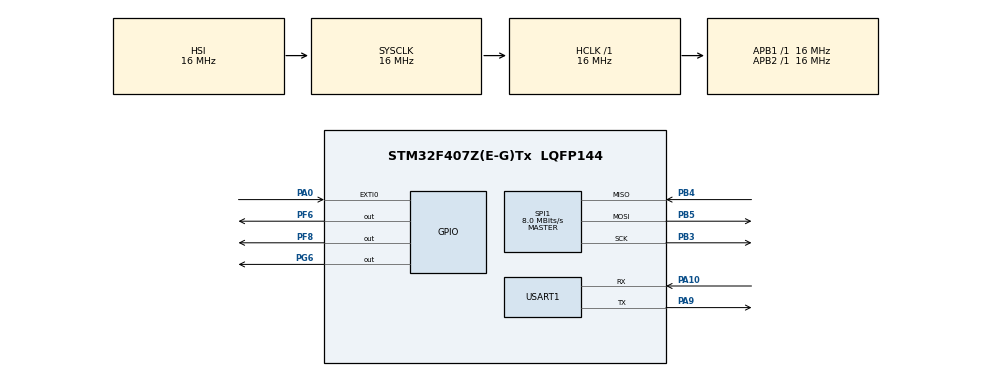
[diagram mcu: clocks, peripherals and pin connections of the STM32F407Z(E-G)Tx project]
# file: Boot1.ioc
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Mcu.Family=STM32F4
Mcu.Name=STM32F407Z(E-G)Tx
Mcu.Package=LQFP144
NVIC.EXTI0_IRQn=true\:0\:0\:true\:false\:true\:true\:true\:true
NVIC.PriorityGroup=NVIC_PRIORITYGROUP_4
NVIC.USART1_IRQn=true\:0\:0\:true\:false\:true\:true\:true\:true
PA0-WKUP.GPIO_ModeDefaultEXTI=GPIO_MODE_IT_RISING
PA0-WKUP.Signal=GPXTI0
PA10.Mode=Asynchronous
PA10.Signal=USART1_RX
PA13.Mode=Serial_Wire
PA13.Signal=SYS_JTMS-SWDIO
PA14.Mode=Serial_Wire
PA14.Signal=SYS_JTCK-SWCLK
PA9.Mode=Asynchronous
PA9.Signal=USART1_TX
PB3.Mode=Full_Duplex_Master
PB3.Signal=SPI1_SCK
PB4.Mode=Full_Duplex_Master
PB4.Signal=SPI1_MISO
PB5.Mode=Full_Duplex_Master
PB5.Signal=SPI1_MOSI
PF6.GPIO_ModeDefaultOutputPP=GPIO_MODE_OUTPUT_PP
PF6.GPIO_PuPd=GPIO_NOPULL
PF6.GPIO_Speed=GPIO_SPEED_FREQ_LOW
PF6.PinState=GPIO_PIN_SET
PF6.Signal=GPIO_Output
PF8.PinState=GPIO_PIN_SET
PF8.Signal=GPIO_Output
PG6.GPIO_PuPd=GPIO_PULLUP
PG6.PinState=GPIO_PIN_RESET
PG6.Signal=GPIO_Output
ProjectManager.HeapSize=0x200
ProjectManager.StackSize=0x400
ProjectManager.TargetToolchain=MDK-ARM V5.32
RCC.AHBFreq_Value=16000000
RCC.APB1Freq_Value=16000000
RCC.APB2Freq_Value=16000000
RCC.CortexFreq_Value=16000000
RCC.HSE_VALUE=25000000
RCC.HSI_VALUE=16000000
RCC.LSE_VALUE=32768
RCC.SYSCLKFreq_VALUE=16000000
RCC.VCOOutputFreq_Value=192000000
SPI1.CLKPhase=SPI_PHASE_2EDGE
SPI1.CLKPolarity=SPI_POLARITY_HIGH
SPI1.CalculateBaudRate=8.0 MBits/s
SPI1.Direction=SPI_DIRECTION_2LINES
SPI1.Mode=SPI_MODE_MASTER
SPI1.VirtualType=VM_MASTER
USART1.VirtualMode=VM_ASYNC
board=custom

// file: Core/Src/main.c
/* USER CODE BEGIN Header */
/**
  ******************************************************************************
  * @file           : main.c
  * @brief          : Main program body
  ******************************************************************************
  * @attention
  *
  * Copyright (c) 2026 STMicroelectronics.
  * All rights reserved.
  *
  * This software is licensed under terms that can be found in the LICENSE file
  * in the root directory of this software component.
  * If no LICENSE file comes with this software, it is provided AS-IS.
  *
  ******************************************************************************
  */
/* USER CODE END Header */
#include "main.h"

/* USER CODE BEGIN Includes */
#include "SPI_FLASH.h"
#include <string.h>
/* USER CODE END Includes */

SPI_HandleTypeDef hspi1;

UART_HandleTypeDef huart1;

/* USER CODE BEGIN PV */
static char BOOT_Rx[]="\r\nBOOT_Rx:\r\n";
static char DataTx_BootMode[]="BOOT_MODE";
static char DataTx_Wait[]="\r\nWait  Data\r\n";

/* USER CODE END PV */

void SystemClock_Config(void);
static void MX_GPIO_Init(void);
static void MX_USART1_UART_Init(void);
static void MX_SPI1_Init(void);

/* USER CODE BEGIN 0 */
uint8_t Data_Test_Rx[16]={0};//接收FLASH数据测试
      uint32_t Addr=0xFFF000;

static volatile  uint8_t key_pressed=0;
#define APP_ADDRESS  0x08008000U
typedef void (*pFunction)(void);

void HAL_GPIO_EXTI_Callback(uint16_t GPIO_Pin)
{
    if (GPIO_Pin == GPIO_PIN_0)
    {
        key_pressed = 1;
    }
}

typedef struct
{
//    uint32_t magic;
//    uint32_t upgrade_req;
//    uint32_t trial_run;
//    uint32_t confirm_ok;
//    uint32_t active_app;
//    uint32_t fw_size;
//    uint32_t fw_crc;
 	  uint32_t boot_mode;
//	  uint32_t cmd;
	   uint32_t upgrade_mode;
} boot_flag;

	boot_flag BootFlag={0};
void JumpToApplication(void)
{
    uint32_t app_sp    = *(__IO uint32_t*)APP_ADDRESS;
    uint32_t app_reset = *(__IO uint32_t*)(APP_ADDRESS + 4);

    if ((app_sp & 0x2FFE0000U) == 0x20000000U)
    {
        __disable_irq();

        SysTick->CTRL = 0;
        SysTick->LOAD = 0;
        SysTick->VAL  = 0;

        for (uint32_t i = 0; i < 8; i++)
        {
            NVIC->ICER[i] = 0xFFFFFFFF;
            NVIC->ICPR[i] = 0xFFFFFFFF;
        }

        SCB->VTOR = APP_ADDRESS;
        __set_MSP(app_sp);

        __enable_irq();   // 关键：把全局中断打开

        pFunction app_entry = (pFunction)app_reset;
        app_entry();
    }
}

		//
		 uint8_t Rx_Data_upgrade[16] = {0};
    volatile uint8_t upgrade_block_ready = 0;
    volatile uint16_t upgrade_block_len = 16;
		  volatile uint8_t upgrade_rx_busy =0;
void HAL_UART_RxCpltCallback(UART_HandleTypeDef *huart)
{
	if(huart->Instance == USART1)
	{

		if(BootFlag.upgrade_mode==1)
	{
		upgrade_rx_busy = 0;
		upgrade_block_ready = 1;//16字节已经收满
	}

	}
 return;
}

void Upgrade_Mode(void)
{
	if(upgrade_block_ready==1)
	{
			HAL_UART_Transmit(&huart1,(uint8_t *)BOOT_Rx,strlen(BOOT_Rx),100);
//		HAL_UART_Transmit(&huart1,Rx_Data_upgrade,16,100);
//  HAL_UART_Transmit(&huart1,(uint8_t *)"\r\n",2,100);

		SPI_FLASH_Transmit(Addr,Rx_Data_upgrade,16);
		 Read_Flash_Data(Addr,Data_Test_Rx,16);
     HAL_UART_Transmit(&huart1,Data_Test_Rx,16,HAL_MAX_DELAY);

		upgrade_block_ready = 0;
		upgrade_rx_busy = 1;

		memset(Rx_Data_upgrade, 0, sizeof(Rx_Data_upgrade));
		HAL_UART_Receive_IT(&huart1, Rx_Data_upgrade, 16);
	}
}

void Boot_Wait(void)
	{
		HAL_UART_Transmit(&huart1,(uint8_t*)DataTx_BootMode,strlen(DataTx_BootMode),100);
		HAL_UART_Transmit(&huart1,(uint8_t*)DataTx_Wait,strlen(DataTx_Wait),100);

  		BootFlag.upgrade_mode = 1;
			upgrade_block_ready = 0;
			upgrade_rx_busy = 1;
			memset(Rx_Data_upgrade, 0, sizeof(Rx_Data_upgrade));
			HAL_UART_Receive_IT(&huart1, Rx_Data_upgrade, 16);
	 while(1)
	 {
	 HAL_GPIO_WritePin(GPIOF,GPIO_PIN_8,GPIO_PIN_RESET);
		HAL_Delay(50);
			 HAL_GPIO_WritePin(GPIOF,GPIO_PIN_8,GPIO_PIN_SET);
		HAL_Delay(50);

		Upgrade_Mode();

		}

}

/* USER CODE END 0 */

int main(void)
{

  /* USER CODE BEGIN 1 */
	uint32_t CurrentTime;
	uint32_t StarttTime;

  /* USER CODE END 1 */

  /* MCU Configuration--------------------------------------------------------*/

  /* Reset of all peripherals, Initializes the Flash interface and the Systick. */
  HAL_Init();

  /* Configure the system clock */
  SystemClock_Config();

  /* Initialize all configured peripherals */
  MX_GPIO_Init();
  MX_USART1_UART_Init();
  MX_SPI1_Init();
  /* USER CODE BEGIN 2 */

    StarttTime=HAL_GetTick();
		CurrentTime=HAL_GetTick();
		while((CurrentTime-StarttTime)<3000)
		{
			HAL_GPIO_WritePin(GPIOF,GPIO_PIN_6,GPIO_PIN_RESET);
			HAL_Delay(100);
			HAL_GPIO_WritePin(GPIOF,GPIO_PIN_6,GPIO_PIN_SET);
			HAL_Delay(100);

			if(key_pressed==1)
			{
			BootFlag.boot_mode=1;
			break;
			}

			CurrentTime=HAL_GetTick();
		}

		if(BootFlag.boot_mode==1)
		{
			Boot_Wait();
		}
		else
			JumpToApplication();

// uint8_t Buff[16]={5,5,5,5,5,5,5,5,5,5,5,5,5,5,5,5};
// uint8_t Recv[16]={0};
//  Erase_Sector(Addr);
//	Page_Program(Addr,Buff,16);
// Read_Flash_Data(Addr,Recv,16);
// HAL_UART_Transmit(&huart1,Recv,16,HAL_MAX_DELAY);

  /* USER CODE END 2 */

  /* Infinite loop */
			while (1)
			{

			}
}

void SystemClock_Config(void)
{
  RCC_OscInitTypeDef RCC_OscInitStruct = {0};
  RCC_ClkInitTypeDef RCC_ClkInitStruct = {0};

  /** Configure the main internal regulator output voltage
  */
  __HAL_RCC_PWR_CLK_ENABLE();
  __HAL_PWR_VOLTAGESCALING_CONFIG(PWR_REGULATOR_VOLTAGE_SCALE1);

  /** Initializes the RCC Oscillators according to the specified parameters
  * in the RCC_OscInitTypeDef structure.
  */
  RCC_OscInitStruct.OscillatorType = RCC_OSCILLATORTYPE_HSI;
  RCC_OscInitStruct.HSIState = RCC_HSI_ON;
  RCC_OscInitStruct.HSICalibrationValue = RCC_HSICALIBRATION_DEFAULT;
  RCC_OscInitStruct.PLL.PLLState = RCC_PLL_NONE;
  if (HAL_RCC_OscConfig(&RCC_OscInitStruct) != HAL_OK)
  {
    Error_Handler();
  }

  /** Initializes the CPU, AHB and APB buses clocks
  */
  RCC_ClkInitStruct.ClockType = RCC_CLOCKTYPE_HCLK|RCC_CLOCKTYPE_SYSCLK
                              |RCC_CLOCKTYPE_PCLK1|RCC_CLOCKTYPE_PCLK2;
  RCC_ClkInitStruct.SYSCLKSource = RCC_SYSCLKSOURCE_HSI;
  RCC_ClkInitStruct.AHBCLKDivider = RCC_SYSCLK_DIV1;
  RCC_ClkInitStruct.APB1CLKDivider = RCC_HCLK_DIV1;
  RCC_ClkInitStruct.APB2CLKDivider = RCC_HCLK_DIV1;

  if (HAL_RCC_ClockConfig(&RCC_ClkInitStruct, FLASH_LATENCY_0) != HAL_OK)
  {
    Error_Handler();
  }
}

static void MX_SPI1_Init(void)
{

  /* SPI1 parameter configuration*/
  hspi1.Instance = SPI1;
  hspi1.Init.Mode = SPI_MODE_MASTER;
  hspi1.Init.Direction = SPI_DIRECTION_2LINES;
  hspi1.Init.DataSize = SPI_DATASIZE_8BIT;
  hspi1.Init.CLKPolarity = SPI_POLARITY_HIGH;
  hspi1.Init.CLKPhase = SPI_PHASE_2EDGE;
  hspi1.Init.NSS = SPI_NSS_SOFT;
  hspi1.Init.BaudRatePrescaler = SPI_BAUDRATEPRESCALER_2;
  hspi1.Init.FirstBit = SPI_FIRSTBIT_MSB;
  hspi1.Init.TIMode = SPI_TIMODE_DISABLE;
  hspi1.Init.CRCCalculation = SPI_CRCCALCULATION_DISABLE;
  hspi1.Init.CRCPolynomial = 10;
  if (HAL_SPI_Init(&hspi1) != HAL_OK)
  {
    Error_Handler();
  }

}

static void MX_USART1_UART_Init(void)
{

  huart1.Instance = USART1;
  huart1.Init.BaudRate = 115200;
  huart1.Init.WordLength = UART_WORDLENGTH_8B;
  huart1.Init.StopBits = UART_STOPBITS_1;
  huart1.Init.Parity = UART_PARITY_NONE;
  huart1.Init.Mode = UART_MODE_TX_RX;
  huart1.Init.HwFlowCtl = UART_HWCONTROL_NONE;
  huart1.Init.OverSampling = UART_OVERSAMPLING_16;
  if (HAL_UART_Init(&huart1) != HAL_OK)
  {
    Error_Handler();
  }

}

static void MX_GPIO_Init(void)
{
  GPIO_InitTypeDef GPIO_InitStruct = {0};

  /* GPIO Ports Clock Enable */
  __HAL_RCC_GPIOF_CLK_ENABLE();
  __HAL_RCC_GPIOA_CLK_ENABLE();
  __HAL_RCC_GPIOG_CLK_ENABLE();
  __HAL_RCC_GPIOB_CLK_ENABLE();

  /*Configure GPIO pin Output Level */
  HAL_GPIO_WritePin(GPIOF, GPIO_PIN_6|GPIO_PIN_8, GPIO_PIN_SET);

  /*Configure GPIO pin Output Level */
  HAL_GPIO_WritePin(GPIOG, GPIO_PIN_6, GPIO_PIN_RESET);

  /*Configure GPIO pins : PF6 PF8 */
  GPIO_InitStruct.Pin = GPIO_PIN_6|GPIO_PIN_8;
  GPIO_InitStruct.Mode = GPIO_MODE_OUTPUT_PP;
  GPIO_InitStruct.Pull = GPIO_NOPULL;
  GPIO_InitStruct.Speed = GPIO_SPEED_FREQ_LOW;
  HAL_GPIO_Init(GPIOF, &GPIO_InitStruct);

  /*Configure GPIO pin : PA0 */
  GPIO_InitStruct.Pin = GPIO_PIN_0;
  GPIO_InitStruct.Mode = GPIO_MODE_IT_RISING;
  GPIO_InitStruct.Pull = GPIO_NOPULL;
  HAL_GPIO_Init(GPIOA, &GPIO_InitStruct);

  /*Configure GPIO pin : PG6 */
  GPIO_InitStruct.Pin = GPIO_PIN_6;
  GPIO_InitStruct.Mode = GPIO_MODE_OUTPUT_PP;
  GPIO_InitStruct.Pull = GPIO_PULLUP;
  GPIO_InitStruct.Speed = GPIO_SPEED_FREQ_LOW;
  HAL_GPIO_Init(GPIOG, &GPIO_InitStruct);

  /* EXTI interrupt init*/
  HAL_NVIC_SetPriority(EXTI0_IRQn, 0, 0);
  HAL_NVIC_EnableIRQ(EXTI0_IRQn);

}

void Error_Handler(void)
{
  __disable_irq();
  while (1)
  {
  }
}
